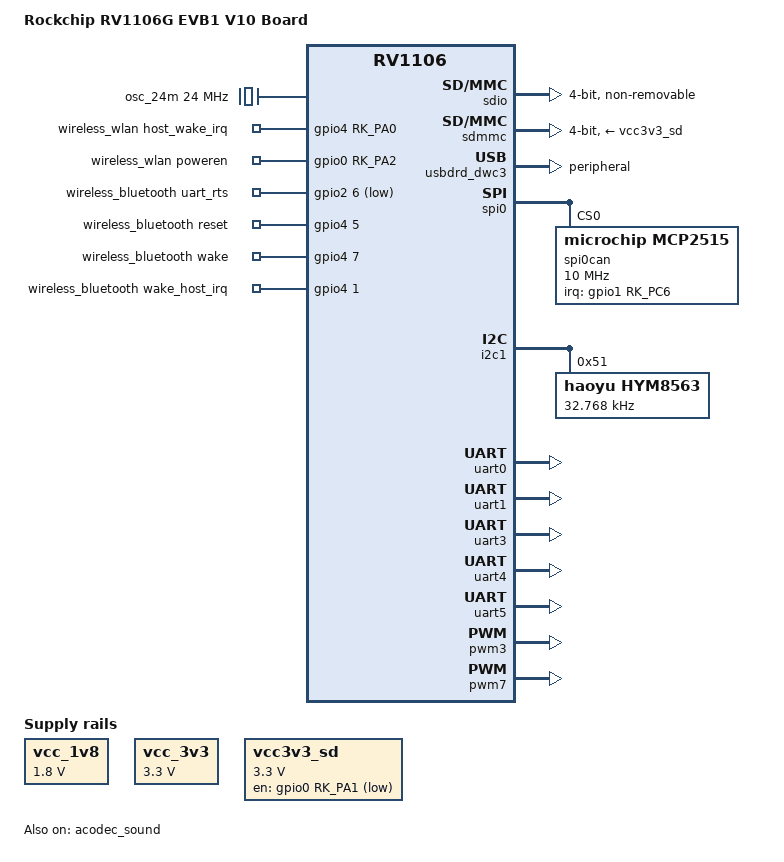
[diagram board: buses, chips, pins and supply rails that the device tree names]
// SPDX-License-Identifier: (GPL-2.0+ OR MIT)
/*
 * Copyright (c) 2022 Rockchip Electronics Co., Ltd.
 */

/dts-v1/;

#include "rv1106.dtsi"
#include "rv1106-evb-v10.dtsi"
//#include "rv1106-evb-cam.dtsi"

// -------------camera select---------------
//#include "rongpin/rp-camera-gc2093x1.dtsi"
//#include "rongpin/rp-camera-imx415x1.dtsi"
//#include "rongpin/rp-camera-gc2093x2.dtsi"
//#include "rongpin/rp-camera-imx327x1.dtsi"
/ {
	model = "Rockchip RV1106G EVB1 V10 Board";
	compatible = "rockchip,rv1106g-evb1-v10", "rockchip,rv1106";

	 rp_power{
                status = "okay";
                compatible = "rp_power";
                rp_not_deep_leep = <1>;

//#define GPIO_FUNCTION_OUTPUT 0
//#define GPIO_FUNCTION_INPUT 1
//#define GPIO_FUNCTION_IRQ 2
//#define GPIO_FUNCTION_FLASH 3
//#define GPIO_FUNCTION_OUTPUT_CTRL 4

		VDD5V{
                        gpio_num = <&gpio1 RK_PC7 GPIO_ACTIVE_HIGH>;
                        gpio_function = <4>;
                };
		 VDD4G{
                        gpio_num = <&gpio0 RK_PA0 GPIO_ACTIVE_HIGH>;
                        gpio_function = <0>;
                };
		VDD_USB5V{
                        gpio_num = <&gpio1 RK_PA0 GPIO_ACTIVE_HIGH>;
                        gpio_function = <0>;
                };



};
	rp_gpio{
                status = "okay";
                compatible = "rp_gpio";
		LED{
                        gpio_num = <&gpio0 RK_PA3 GPIO_ACTIVE_HIGH>;
                        gpio_function = <4>;
                };
	
};
	/** 24M osc clock to mcp2515 */
	osc_24m: osc24m {
        	compatible = "fixed-clock";
        	#clock-cells = <0>;
        	clock-frequency = <24000000>;
        };


	/*sdio_pwrseq: sdio-pwrseq {
		compatible = "mmc-pwrseq-simple";
		pinctrl-names = "default";
		pinctrl-0 = <&wifi_enable_h>;
		/*
		 * On the module itself this is one of these (depending
		 * on the actual card populated):
		 * - SDIO_RESET_L_WL_REG_ON
		 * - PDN (power down when low)
		 */
		/*post-power-on-delay-ms = <200>;
		reset-gpios = <&gpio0 RK_PA2 GPIO_ACTIVE_LOW>;
	
	};
*/
	vcc_1v8: vcc-1v8 {
		compatible = "regulator-fixed";
		regulator-name = "vcc_1v8";
		regulator-always-on;
		regulator-boot-on;
		regulator-min-microvolt = <1800000>;
		regulator-max-microvolt = <1800000>;
	};

	vcc_3v3: vcc-3v3 {
		compatible = "regulator-fixed";
		regulator-name = "vcc_3v3";
		regulator-always-on;
		regulator-boot-on;
		regulator-min-microvolt = <3300000>;
		regulator-max-microvolt = <3300000>;
	};

	vcc3v3_sd: vcc3v3-sd {
		compatible = "regulator-fixed";
		gpio = <&gpio0 RK_PA1 GPIO_ACTIVE_LOW>;
		regulator-name = "vcc3v3_sd";
		regulator-min-microvolt = <3300000>;
		regulator-max-microvolt = <3300000>;
		enable-active-low;
                regulator-always-on;
                regulator-boot-on;
		pinctrl-names = "default";
		pinctrl-0 = <&sdmmc_pwren>;
	};

	wireless_wlan: wireless-wlan {
		compatible = "wlan-platdata";
		clocks = <&hym8563>;
 		clock-names = "clk_wifi";
		wifi_chip_type = "ap6210";
		pinctrl-names = "default";
		pinctrl-0 = <&wifi_host_wake_irq>, <&wifi_enable_h>;
		WIFI,host_wake_irq = <&gpio4 RK_PA0 GPIO_ACTIVE_HIGH>;
		WIFI,poweren_gpio = <&gpio0 RK_PA2 GPIO_ACTIVE_HIGH>;
		status = "okay";
	};

	wireless_bluetooth: wireless-bluetooth {
		compatible = "bluetooth-platdata";
		uart_rts_gpios = <&gpio2 6 GPIO_ACTIVE_LOW>;
		pinctrl-names = "default","rts_gpio";
		pinctrl-0 = <&uart0m1_rtsn>;
		pinctrl-1 = <&uart0_rts_gpio>;

		//keep_bt_power_on;
		/* BT,power_gpio = <&gpio* *** GPIO_ACTIVE_HIGH>; */
		BT,reset_gpio = <&gpio4 5 GPIO_ACTIVE_HIGH>;
		BT,wake_gpio = <&gpio4 7 GPIO_ACTIVE_HIGH>;
		BT,wake_host_irq = <&gpio4 1 GPIO_ACTIVE_HIGH>;

		status = "okay";
    };


};


&pinctrl {
	/*sdio-pwrseq {
		wifi_enable_h: wifi-enable-h {
			rockchip,pins = <0 RK_PA2 RK_FUNC_GPIO &pcfg_pull_none>;
		};

	};*/

	sdmmc {
		/omit-if-no-ref/
		sdmmc_pwren: sdmmc-pwren {
			rockchip,pins = <0 RK_PA1 RK_FUNC_GPIO &pcfg_pull_none>;
		};
	};
	wireless-wlan {
		wifi_host_wake_irq: wifi-host-wake-irq {
			rockchip,pins = <4 RK_PA0 RK_FUNC_GPIO &pcfg_pull_down>;
		};
	  	wifi_enable_h: wifi-enable-h {
                        rockchip,pins = <0 RK_PA2 RK_FUNC_GPIO &pcfg_pull_up>;
                };	

	};
	wireless-bluetooth {
                uart0_rts_gpio: uart0-rts-gpio {
                        rockchip,pins = <2 RK_PA6 RK_FUNC_GPIO &pcfg_pull_none>;
                };
        };

};


&sdio {
	max-frequency = <150000000>;
	no-sd;
	no-mmc;
	bus-width = <4>;
	cap-sd-highspeed;
	cap-sdio-irq;
	keep-power-in-suspend;
	//mmc-pwrseq = <&sdio_pwrseq>;
	non-removable;
	sd-uhs-sdr104;
	pinctrl-names = "default";
	pinctrl-0 = <&sdmmc1m0_cmd &sdmmc1m0_clk &sdmmc1m0_bus4>;
	status = "okay";
};

&sdmmc {
	max-frequency = <200000000>;
	no-sdio;
	no-mmc;
	bus-width = <4>;
	cap-mmc-highspeed;
	cap-sd-highspeed;
	disable-wp;
	pinctrl-names = "default";
	pinctrl-0 = <&sdmmc0_clk &sdmmc0_cmd &sdmmc0_det &sdmmc0_bus4>;
	sd-uhs-sdr12;
	sd-uhs-sdr25;
	sd-uhs-sdr50;
	sd-uhs-sdr104;
	vmmc-supply = <&vcc3v3_sd>;
	//vqmmc-supply = <&vccio_sd>;
	status = "okay";
};

&u2phy_otg {
	/delete-property/ vbus-supply;
	//vbus-supply = <&vcc5v0_usb>;
};

&usbdrd_dwc3 {
	status = "okay";
	dr_mode = "peripheral";
	usb-role-switch;
	role-switch-default-mode;
	snps,dis-u1-entry-quirk;
	snps,dis-u2-entry-quirk;	
};

&spi0 {
        status = "okay";

    /* rewrite pinctrl for cs1 used to be camera clk */
	pinctrl-0 = <&spi0m0_cs0 &spi0m0_pins>;

        spi0can: mcp2515@0 {
            status = "okay";
            compatible = "microchip,mcp2515";
            reg = <0>;
            clocks = <&osc_24m>;
            interrupt-parent = <&gpio1>;
            interrupts = <RK_PC6 IRQ_TYPE_LEVEL_LOW>;
            // vdd-supply = <&reg5v0>;
            // xceiver-supply = <&reg5v0>;
            spi-max-frequency = <10000000>;
        };
};

&i2c1 {
	 status = "okay";
	 hym8563: hym8563@51 {
	     compatible = "haoyu,hym8563";
	     reg = <0x51>;
    	     #clock-cells = <0>;
             clock-frequency = <32768>;
  	     clock-output-names = "rtc_32k";

          };
};

&uart0 {
        pinctrl-names = "default";
        pinctrl-0 = <&uart0m1_xfer &uart0m1_ctsn>;
        status = "okay";
};

&uart1 {
        pinctrl-names = "default";
        pinctrl-0 = <&uart1m0_xfer>;
        status = "okay";
};

&uart3 {
        pinctrl-names = "default";
        pinctrl-0 = <&uart3m1_xfer>;
        status = "okay";
};

&uart4 {
	pinctrl-names = "default";
        pinctrl-0 = <&uart4m1_xfer>;
        status = "okay";
};
&uart5 {
        pinctrl-names = "default";
        pinctrl-0 = <&uart5m1_xfer>;
        status = "okay";
};

&acodec_sound{
	status = "okay";
};

&pwm3 {         
        status = "okay";
	pinctrl-0 = <&pwm3m1_pins>;
};
&pwm7 {         
        status = "okay";
	pinctrl-0 = <&pwm7m1_pins>;

};
